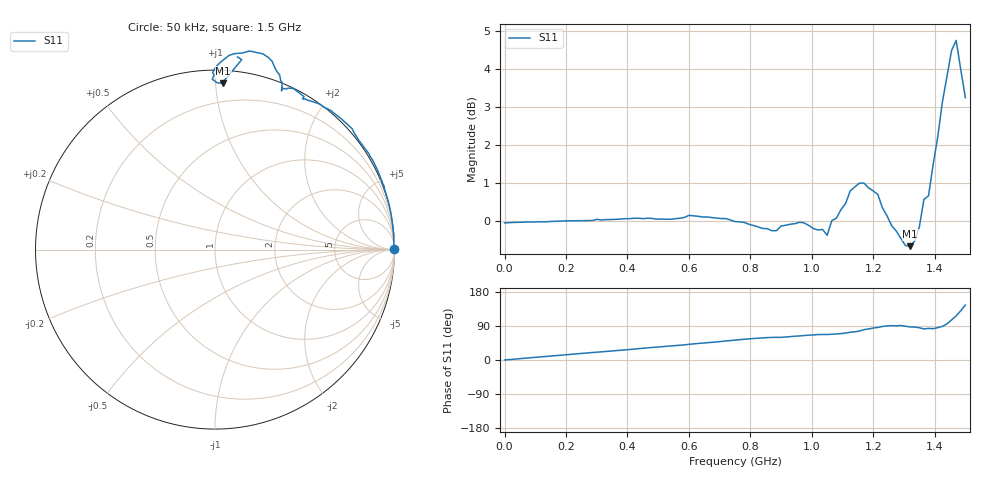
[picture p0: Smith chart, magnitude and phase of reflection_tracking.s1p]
! Created with skrf 1.8.0 (http://scikit-rf.org).
# Hz S RI R 50.0
!freq ReS11 ImS11
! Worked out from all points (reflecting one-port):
!   101 points, 50 kHz to 1.5 GHz, reference 50 ohm
!   lowest |S11| = -0.7 dB at 1.32 GHz (marker M1), VSWR 26.68, Z = 3.94 + j52.4 ohm
!   phase of S11 starts at 0 deg and turns +145 deg over the sweep
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50000  0.9955 0.000862
1.950435e8  0.9738 0.2337
3.750375e8  0.9089 0.4336
5.70031e8  0.7855 0.6342
7.50025e8  0.6084 0.793
8.550215e8  0.5022 0.8396
9.0002e8  0.4964 0.852
9.450185e8  0.4558 0.8824
1.050015e9  0.3703 0.8844
1.095014e9  0.3602 0.9718
1.125012e9  0.3179 1.05
1.155012e9  0.2666 1.091
1.170011e9  0.1917 1.107
1.21501e9  0.0787 1.082
1.245008e9  0.00382 1.017
1.290007e9  -0.0153 0.9494
1.320006e9  0.046 0.9266
1.350005e9  0.0838 0.9798
1.365004e9  0.1489 1.059
1.380004e9  0.1251 1.073
1.395004e9  0.1525 1.178
1.410003e9  0.1048 1.287
1.425002e9  0.0322 1.434
1.440002e9  -0.1431 1.545
1.455002e9  -0.455 1.616
1.470001e9  -0.7721 1.548
1.485e9  -1.02 1.21
1.5e9  -1.193 0.8334
